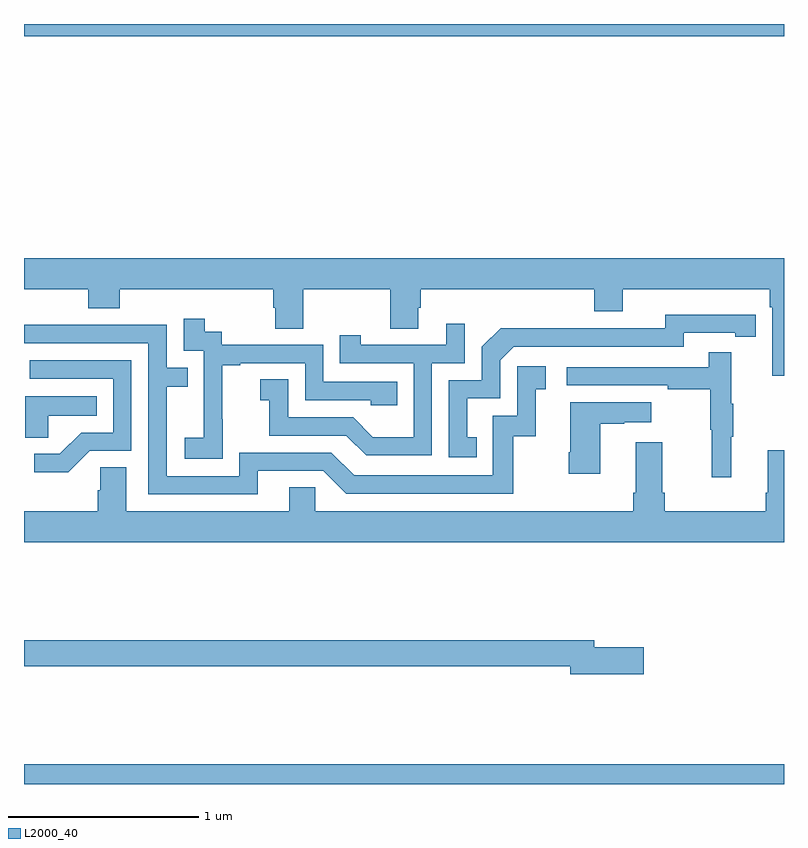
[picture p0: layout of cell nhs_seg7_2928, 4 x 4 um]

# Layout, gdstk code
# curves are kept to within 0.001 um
import gdstk
lib = gdstk.Library(unit=1e-6, precision=1e-09)
def R(c, l, rs):  # rectangles x0, y0, x1, y1
    for r in rs: c.add(gdstk.rectangle(r[:2], r[2:], *l))
def P(c, l, *ps):  # polygons
    for p in ps: c.add(gdstk.Polygon(p, *l))
L2000_40 = (2000, 40)

nhs_seg7_2928 = lib.new_cell('nhs_seg7_2928')
R(nhs_seg7_2928, L2000_40, [(299,1010,303,1010.104), (299,1013.936,303,1014)])
P(nhs_seg7_2928, L2000_40, [(303,1012.768),(299,1012.768),(299,1012.604),(299.339,1012.604),(299.339,1012.505),(299.504,1012.505),(299.504,1012.604),(300.311,1012.604),(300.311,1012.506),(300.323,1012.506),(300.323,1012.396),(300.471,1012.396),(300.471,1012.604),(300.928,1012.604),(300.928,1012.396),(301.075,1012.396),(301.075,1012.506),(301.088,1012.506),(301.088,1012.604),(302,1012.604),(302,1012.487),(302.152,1012.487),(302.152,1012.604),(302.924,1012.604),(302.924,1012.508),(302.937,1012.508),(302.937,1012.149),(303,1012.149)],
  [(301.382,1011.825),(301.333,1011.825),(301.333,1012.029),(301.506,1012.029),(301.506,1012.23),(301.578,1012.302),(302.472,1012.302),(302.472,1012.374),(302.744,1012.374),(302.744,1012.354),(302.852,1012.354),(302.852,1012.47),(302.376,1012.471),(302.376,1012.398),(301.916,1012.398),(301.916,1012.4),(301.508,1012.4),(301.41,1012.302),(301.41,1012.125),(301.236,1012.125),(301.236,1011.72),(301.382,1011.72)],
  [(300.045,1011.919),(300.044,1011.919),(300.044,1012.203),(300.139,1012.203),(300.139,1012.215),(300.48,1012.215),(300.48,1012.02),(300.825,1012.02),(300.825,1011.993),(300.965,1011.993),(300.965,1012.116),(300.576,1012.116),(300.576,1012.311),(300.042,1012.311),(300.042,1012.38),(299.95,1012.38),(299.95,1012.45),(299.841,1012.45),(299.841,1012.281),(299.946,1012.281),(299.946,1012.052),(299.945,1012.052),(299.945,1011.823),(299.847,1011.823),(299.847,1011.713),(300.045,1011.713)],
  [(301.146,1012.215),(301.32,1012.215),(301.32,1012.423),(301.223,1012.423),(301.223,1012.311),(300.772,1012.311),(300.772,1012.363),(300.661,1012.363),(300.661,1012.215),(301.05,1012.215),(301.05,1011.826),(300.836,1011.826),(300.732,1011.93),(300.39,1011.93),(300.39,1012.129),(300.243,1012.129),(300.243,1012.019),(300.292,1012.019),(300.292,1011.834),(300.695,1011.834),(300.8,1011.729),(301.146,1011.729)],
  [(300.229,1011.648),(300.576,1011.648),(300.696,1011.528),(301.576,1011.528),(301.576,1011.831),(301.694,1011.831),(301.694,1012.077),(301.747,1012.077),(301.747,1012.198),(301.596,1012.198),(301.596,1011.939),(301.467,1011.939),(301.467,1011.624),(300.738,1011.624),(300.618,1011.744),(300.132,1011.744),(300.132,1011.621),(299.751,1011.621),(299.751,1012.09),(299.861,1012.09),(299.861,1012.191),(299.751,1012.191),(299.751,1012.416),(299.255,1012.416),(299.255,1012.418),(299,1012.418),(299,1012.32),(299.655,1012.32),(299.655,1011.525),(300.229,1011.525)],
  [(302.723,1011.827),(302.734,1011.827),(302.734,1012.001),(302.723,1012.001),(302.723,1012.273),(302.605,1012.273),(302.605,1012.194),(301.857,1012.194),(301.857,1012.098),(302.389,1012.098),(302.389,1012.078),(302.613,1012.078),(302.613,1011.864),(302.62,1011.864),(302.62,1011.615),(302.723,1011.615)],
  [(299.346,1011.753),(299.565,1011.753),(299.565,1012.23),(299.031,1012.23),(299.031,1012.134),(299.469,1012.134),(299.469,1011.849),(299.3,1011.849),(299.189,1011.738),(299.055,1011.738),(299.055,1011.641),(299.233,1011.641)],
  [(299.127,1011.938),(299.384,1011.938),(299.384,1012.042),(299.006,1012.042),(299.006,1011.823),(299.127,1011.823)],
  [(302.032,1011.895),(302.159,1011.895),(302.159,1011.905),(302.302,1011.905),(302.302,1012.009),(301.874,1012.009),(301.874,1011.745),(301.867,1011.745),(301.867,1011.633),(302.032,1011.633)],
  [(303,1011.757),(302.915,1011.757),(302.915,1011.532),(302.903,1011.532),(302.903,1011.436),(302.372,1011.436),(302.372,1011.532),(302.359,1011.532),(302.359,1011.799),(302.219,1011.799),(302.219,1011.532),(302.207,1011.532),(302.207,1011.436),(300.534,1011.436),(300.534,1011.563),(300.395,1011.563),(300.395,1011.436),(299.539,1011.436),(299.539,1011.668),(299.4,1011.668),(299.4,1011.545),(299.387,1011.545),(299.387,1011.436),(299,1011.436),(299,1011.272),(303,1011.272)],
  [(302.263,1010.72),(302.002,1010.72),(302.002,1010.756),(299,1010.756),(299,1010.62),(301.874,1010.62),(301.874,1010.578),(302.263,1010.578)])

lib.write_gds('nhs_seg7_2928.gds')
